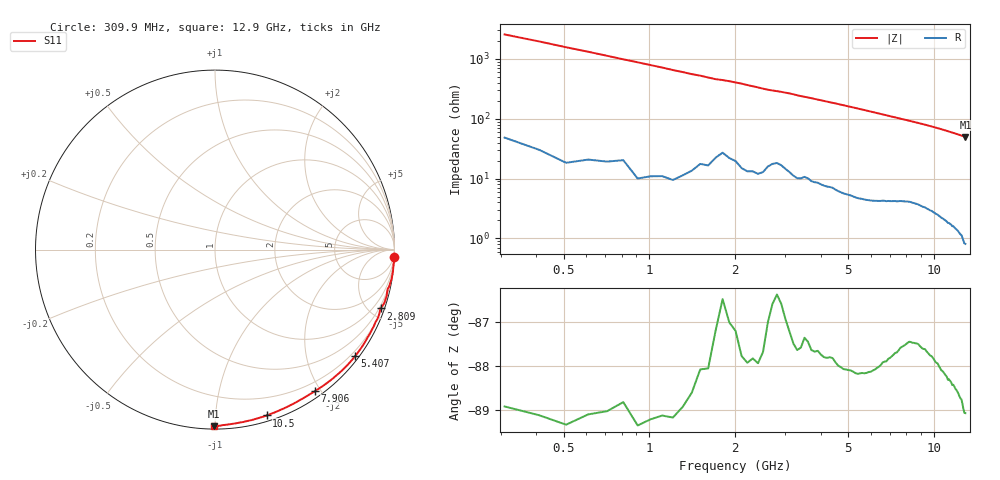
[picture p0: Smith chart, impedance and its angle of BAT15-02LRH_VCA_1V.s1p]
! Infineon Technologies  Discrete & RF Semiconductors
! BAT15-02LRH
! VCA = 1 V
! One-Port S-Parameters
# Hz  S  MA  R  50
!f  S11
!Hz  Mag  Ang
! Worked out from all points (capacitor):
!   127 points, 309.9 MHz to 12.9 GHz, reference 50 ohm
!   read as one part to ground: C = 200 fF near 309.9 MHz
!   lowest |Z| = 49.7 ohm at 12.9 GHz (marker M1)
!   S11 on the Smith chart (normalised r, x): 309.9 MHz: 1, -51; 2.809 GHz: 0.36, -5.77; 5.407 GHz: 0.09, -2.96; 7.906 GHz: 0.08, -1.93; 10.5 GHz: 0.05, -1.36; 12.9 GHz: 0.02, -0.99
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3.0985e8  0.9993 -2.2
9.0955e8  0.9987 -6.5
1.2094e9  0.9978 -8.8
1.6092e9  0.9931 -11.7
1.70915e9  0.9895 -12.4
1.90905e9  0.9879 -13.4
2.10895e9  0.9901 -14.7
2.50875e9  0.9877 -17.8
2.6087e9  0.9835 -18.6
2.8086e9  0.979 -19.6
3.2084e9  0.9837 -22.1
3.4083e9  0.9832 -23.6
3.50825e9  0.9813 -24.2
4.10795e9  0.982 -28.3
4.6077e9  0.9817 -31.7
5.10745e9  0.9811 -35.2
5.4073e9  0.9809 -37.3
6.10695e9  0.9779 -42.3
6.6067e9  0.9743 -45.8
7.10645e9  0.971 -49.3
7.90605e9  0.9653 -54.8
8.2059e9  0.9634 -56.8
9.10545e9  0.9634 -62.9
9.8051e9  0.9647 -67.7
1.050475e10  0.9679 -72.7
1.14043e10  0.9719 -79.3
1.190405e10  0.9746 -82.9
1.290355e10  0.9838 -90.3
